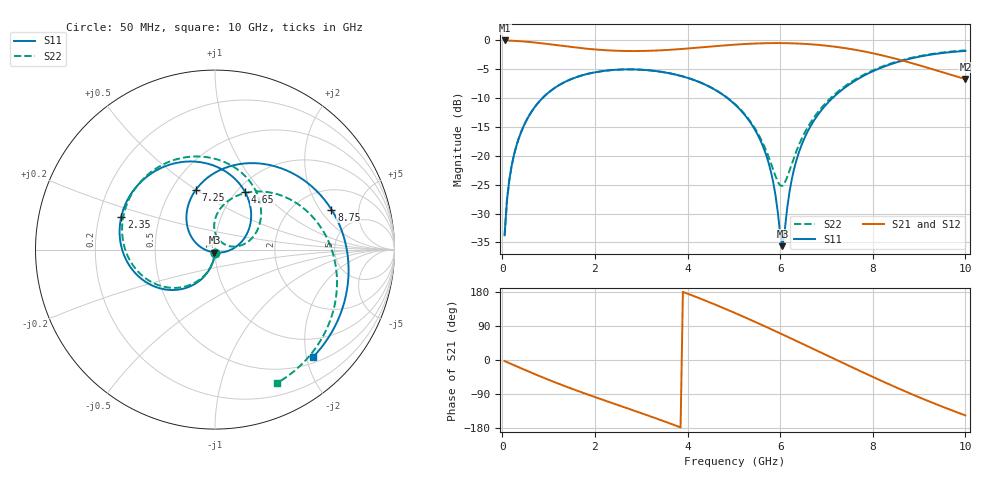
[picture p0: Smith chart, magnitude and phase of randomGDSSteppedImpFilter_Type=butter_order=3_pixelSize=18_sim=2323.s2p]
! freq	dB(S11)	phase(S11)	dB(S12)	phase(S12)
!  dB(S21)	phase(S21)	dB(S22)	phase(S22)
!S-par simulation data
#  GHz  S  DB  R 50
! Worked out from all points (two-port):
!   200 points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, 50 MHz to 10 GHz, reference 50 ohm
!   highest |S21| = -0.01 dB at 50 MHz (marker M1); lowest = -6.7 dB at 10 GHz (marker M2)
!   |S21| within 3 dB of the highest: start of sweep to 8.414 GHz
!   lowest |S11| = -35.7 dB at 6.05 GHz (marker M3), VSWR 1.03, Z = 49.7 - j1.61 ohm
!   |S11| at or under -10 dB: start of sweep to 866.6 MHz; 4.862 GHz to 7.129 GHz (2.267 GHz wide, 37.8 % of centre)
!   |S22| runs from -33.8 to -1.7 dB; largest |S21 - S12| = 0
!   S11 on the Smith chart (normalised r, x): 50 MHz: 1.00, -0.04; 2.35 GHz: 0.30, +0.15; 4.65 GHz: 1.09, +0.81; 7.25 GHz: 0.66, +0.50; 8.75 GHz: 3.05, +2.58; 10 GHz: 0.60, -2.11
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0.05  -33.77 -92.7  -0.01 -2.8  -0.01 -2.8  -33.77 -92.9
0.1  -27.76 -95.5  -0.02 -5.5  -0.02 -5.5  -27.76 -95.9
0.2  -21.81 -101.1  -0.05 -10.9  -0.05 -10.9  -21.81 -101.7
0.5  -14.19 -116.6  -0.21 -26.8  -0.21 -26.8  -14.19 -118.2
1.1  -8.40 -145.8  -0.75 -57.1  -0.75 -57.1  -8.40 -149.4
1.75  -5.99 -174.5  -1.38 -86.9  -1.38 -86.9  -5.99 179.5
2.35  -5.14 160.9  -1.75 -112.7  -1.75 -112.7  -5.15 152.6
3.4  -5.40 118.4  -1.72 -157.6  -1.72 -157.6  -5.40 105.9
4.05  -6.61 90.5  -1.37 172.9  -1.37 172.9  -6.61 75.5
4.65  -8.82 62.5  -0.96 143.5  -0.96 143.5  -8.79 46.5
5.05  -11.30 42.3  -0.72 122.7  -0.72 122.7  -11.23 27.5
5.7  -19.91 3.1  -0.48 87.3  -0.48 87.3  -19.15 8.7
5.85  -24.57 -11.6  -0.46 78.8  -0.46 78.8  -22.40 16.4
6.05  -35.66 -100.9  -0.46 67.5  -0.46 67.5  -25.20 55.0
6.3  -22.31 171.7  -0.51 53.2  -0.51 53.2  -20.26 90.0
6.7  -14.27 141.7  -0.69 30.1  -0.69 30.1  -13.70 85.8
7.25  -9.12 107.8  -1.16 -1.7  -1.16 -1.7  -8.85 61.3
7.85  -5.93 71.6  -1.97 -36.1  -1.97 -36.1  -5.77 31.4
8.35  -4.23 42.1  -2.87 -64.0  -2.87 -64.0  -4.11 6.8
8.75  -3.27 19.0  -3.72 -85.4  -3.72 -85.4  -3.18 -12.0
9.35  -2.34 -14.1  -5.14 -115.8  -5.14 -115.8  -2.26 -38.5
10  -1.83 -47.8  -6.70 -146.2  -6.70 -146.2  -1.72 -65.1
